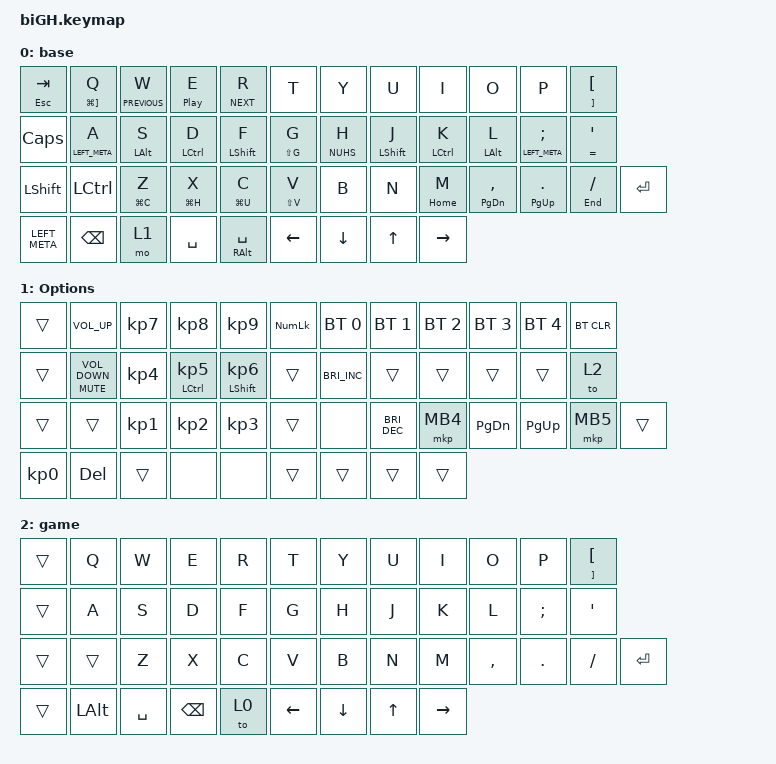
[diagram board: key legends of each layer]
/*
 * Copyright (c) 2020 The ZMK Contributors
 *
 * SPDX-License-Identifier: MIT
 */

#include <behaviors.dtsi>
#include <dt-bindings/zmk/bt.h>
#include <dt-bindings/zmk/keys.h>
#include <dt-bindings/zmk/pointing.h>

#define BASE  0
#define FN    1

&mt {
    flavor = "tap-preferred";
    tapping-term-ms = <200>;
};

/ {
    combos {
        compatible = "zmk,combos";

        numrow_backtick {
            bindings = <&mt GRAVE GRAVE>;
            key-positions = <0 12>;
            layers = <0>;
        };

        numrow_1 {
            bindings = <&mt F1 NUMBER_1>;
            key-positions = <1 13>;
            layers = <0>;
        };

        numrow_2 {
            bindings = <&mt F2 RA(NUMBER_2)>;
            key-positions = <2 14>;
            layers = <0>;
        };

        numrow_3 {
            bindings = <&mt F3 RA(NUMBER_3)>;
            key-positions = <3 15>;
            layers = <0>;
        };

        numrow_4 {
            bindings = <&mt F4 NUMBER_4>;
            key-positions = <4 16>;
            layers = <0>;
        };

        numrow_5 {
            bindings = <&mt F5 N5>;
            key-positions = <5 17>;
            layers = <0>;
        };

        numrow_6 {
            bindings = <&mt F6 NUMBER_6>;
            key-positions = <6 18>;
            layers = <0>;
        };

        numrow_7 {
            bindings = <&mt F7 N7>;
            key-positions = <7 19>;
            layers = <0>;
        };

        numrow_8 {
            bindings = <&mt F8 N8>;
            key-positions = <8 20>;
            layers = <0>;
        };

        numrow_9 {
            bindings = <&mt F9 N9>;
            key-positions = <9 21>;
            layers = <0>;
        };

        numrow_0 {
            bindings = <&mt F10 N0>;
            key-positions = <10 22>;
            layers = <0>;
        };

        numrow_degree {
            bindings = <&mt F11 MINUS>;
            key-positions = <11 23>;
            layers = <0>;
        };

        numrow_equal {
            bindings = <&mt F12 EQUAL>;
            key-positions = <23 36>;
            layers = <0>;
        };

        arrow_left {
            bindings = <&kp LEFT>;
            key-positions = <32 19>;
            layers = <0>;
        };

        arrow_down {
            bindings = <&kp DOWN>;
            key-positions = <20 33>;
            layers = <0>;
        };

        arrow_up {
            bindings = <&kp UP_ARROW>;
            key-positions = <21 34>;
            layers = <0>;
        };

        arrow_right {
            bindings = <&kp RIGHT>;
            key-positions = <22 35>;
            layers = <0>;
        };
    };

    keymap {
        compatible = "zmk,keymap";

        Base {
            label = "base";
            bindings = <
&mt ESC TAB    &mt LG(RIGHT_BRACKET) Q  &mt C_PREVIOUS W  &mt C_PLAY_PAUSE E  &mt C_NEXT R    &kp T        &kp Y       &kp U             &kp I               &kp O                &kp P                    &mt RIGHT_BRACKET LEFT_BRACKET
&kp CAPSLOCK   &mt LEFT_META A          &mt LALT S        &mt LEFT_CONTROL D  &mt LSHFT F     &mt LS(G) G  &mt NUHS H  &mt LEFT_SHIFT J  &mt LEFT_CONTROL K  &mt LEFT_ALT L       &mt LEFT_META SEMICOLON  &mt EQUAL SINGLE_QUOTE
&kp LSHFT      &kp LCTRL                &mt LG(C) Z       &mt LG(H) X         &mt LG(U) C     &mt LS(V) V  &kp B       &kp N             &mt HOME M          &mt PAGE_DOWN COMMA  &mt PG_UP DOT            &mt END SLASH                   &kp ENTER
&kp LEFT_META  &kp BACKSPACE            &mo 1             &kp SPACE           &mt RALT SPACE  &kp LEFT     &kp DOWN    &kp UP_ARROW      &kp RIGHT
            >;
        };

        Options {
            bindings = <
&trans           &kp C_VOLUME_UP           &kp KP_NUMBER_7  &kp KP_NUMBER_8        &kp KP_NUMBER_9        &kp KP_NUM  &bt BT_SEL 0          &bt BT_SEL 1          &bt BT_SEL 2  &bt BT_SEL 3   &bt BT_SEL 4  &bt BT_CLR
&trans           &mt K_MUTE C_VOLUME_DOWN  &kp KP_NUMBER_4  &mt LCTRL KP_NUMBER_5  &mt LSHFT KP_NUMBER_6  &trans      &kp C_BRIGHTNESS_INC  &trans                &trans        &trans         &trans        &to 2
&trans           &trans                    &kp KP_NUMBER_1  &kp KP_NUMBER_2        &kp KP_NUMBER_3        &trans      &none                 &kp C_BRIGHTNESS_DEC  &mkp MB4      &kp PAGE_DOWN  &kp PAGE_UP   &mkp MB5    &trans
&kp KP_NUMBER_0  &kp DELETE                &trans           &none                  &none                  &trans      &trans                &trans                &trans
            >;
        };

        Game {
            label = "game";
            bindings = <
&trans  &kp Q     &kp W      &kp E          &kp R  &kp T     &kp Y     &kp U   &kp I      &kp O      &kp P          &mt RIGHT_BRACKET LEFT_BRACKET
&trans  &kp A     &kp S      &kp D          &kp F  &kp G     &kp H     &kp J   &kp K      &kp L      &kp SEMICOLON  &kp SINGLE_QUOTE
&trans  &trans    &kp Z      &kp X          &kp C  &kp V     &kp B     &kp N   &kp M      &kp COMMA  &kp DOT        &kp SLASH                       &kp ENTER
&trans  &kp LALT  &kp SPACE  &kp BACKSPACE  &to 0  &kp LEFT  &kp DOWN  &kp UP  &kp RIGHT
            >;
        };
    };
};
